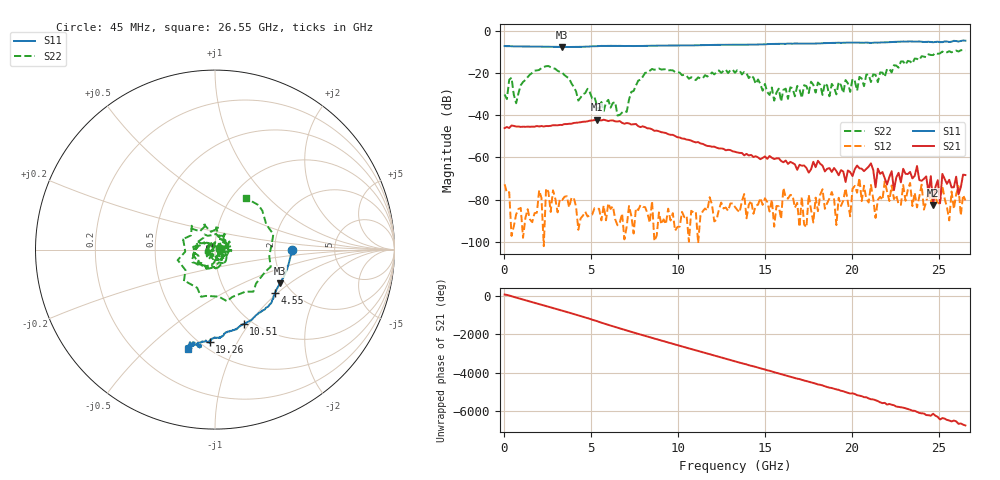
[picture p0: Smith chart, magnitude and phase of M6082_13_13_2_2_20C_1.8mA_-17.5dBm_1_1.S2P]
!  2-Port S-parameters saved by WinCal
! VAR MeasName=S-Parameters (CALIBRATED_DATA) read from VNA (C)
! VAR MeasDate=10/16/2015 10:50:19 AM
! VAR NAME=M6082_13_13_2_2_20C_1.8mA_-17.5dBm
! VAR FILENAME=M6082_13_13_2_2_20C_1.8mA_-17.5dBm_1_1.S2P
! VAR DATE=10/16/2015 10:50:19 AM
! VAR PHYS_PORTS=2,1
! VAR ObjTypeName=DATASET
! VAR IndexType=Frequency
# Hz S DB R 50
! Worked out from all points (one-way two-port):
!   201 points, 45 MHz to 26.55 GHz, reference 50 ohm
!   highest |S21| = -42.15 dB at 5.345 GHz (marker M1); lowest = -82.5 dB at 24.69 GHz (marker M2)
!   lowest |S11| = -7.8 dB at 3.357 GHz (marker M3), VSWR 2.37, Z = 94 - j42.4 ohm
!   |S11| at or under -10 dB: nowhere
!   |S22| runs from -40.2 to -9.2 dB; largest |S21 - S12| = 0.0078
!   S11 on the Smith chart (normalised r, x): 45 MHz: 2.50, -0.02; 4.55 GHz: 1.65, -0.96; 10.51 GHz: 0.91, -0.95; 19.26 GHz: 0.56, -0.78; 26.55 GHz: 0.41, -0.68
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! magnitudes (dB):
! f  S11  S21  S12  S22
! 45 MHz  -7.4  -46.2  -72.7  -30.3
! 3.357 GHz  -7.8  -44.7  -80.2  -19.9
! 4.55 GHz  -7.7  -43.2  -87.6  -30.2
! 5.345 GHz  -7.4  -42.1  -84.4  -35.2
! 7.067 GHz  -7.3  -43.8  -92.7  -38.5
! 8.922 GHz  -7.1  -47.7  -86.0  -18.0
! 10.51 GHz  -7.0  -51.6  -87.7  -21.5
! 13.29 GHz  -6.7  -57.4  -83.5  -20.0
! 15.55 GHz  -6.4  -60.8  -92.8  -33.2
! 17.8 GHz  -6.2  -62.1  -90.8  -25.7
! 19.26 GHz  -5.8  -68.5  -79.1  -24.4
! 20.45 GHz  -5.7  -65.2  -69.7  -22.0
! 20.58 GHz  -5.8  -65.4  -80.7  -22.7
! 22.17 GHz  -5.5  -69.3  -80.7  -18.2
! 23.76 GHz  -5.2  -64.1  -83.7  -13.4
! 24.56 GHz  -5.5  -68.9  -81.2  -11.6
! 24.69 GHz  -5.6  -82.5  -78.3  -11.6
! 24.95 GHz  -5.3  -70.8  -82.6  -11.0
! 25.09 GHz  -5.5  -81.7  -80.7  -10.8
! 25.22 GHz  -5.5  -67.9  -73.4  -10.0
! 26.15 GHz  -5.2  -77.6  -73.6  -9.9
! 26.55 GHz  -4.8  -68.4  -80.4  -9.5
